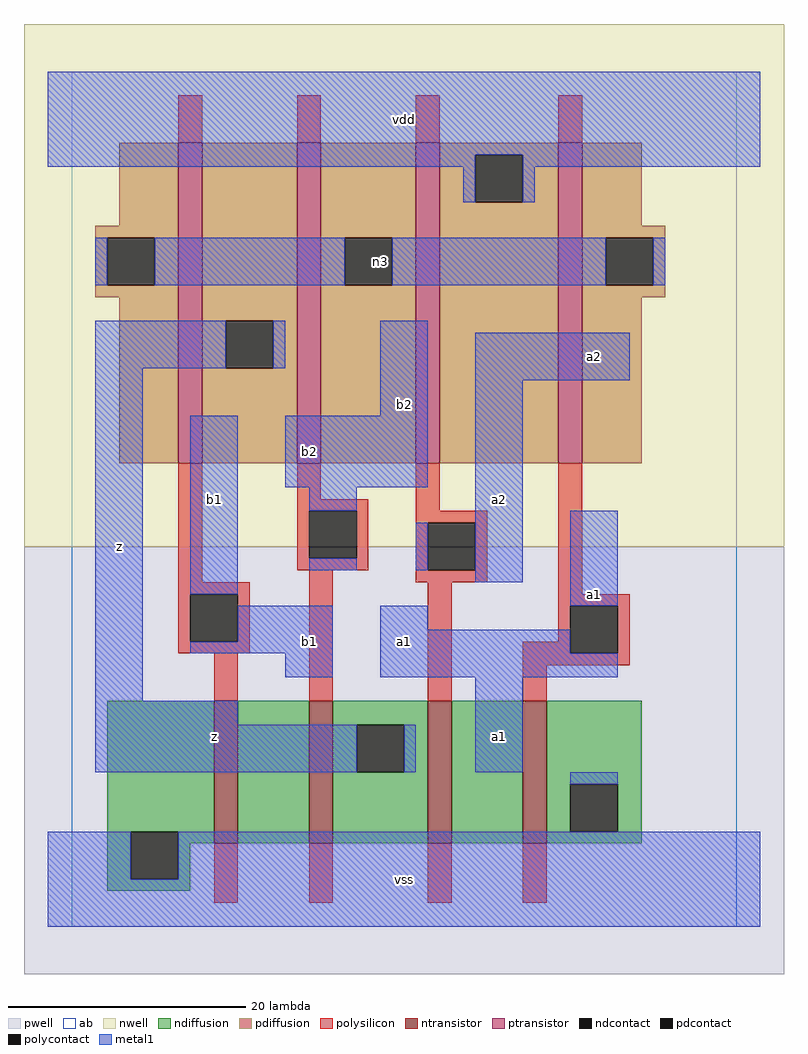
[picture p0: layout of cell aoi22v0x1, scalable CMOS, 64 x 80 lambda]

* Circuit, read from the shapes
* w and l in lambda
.subckt aoi22v0x1 a1 a2 b1 b2 n3 vdd vss z
M1 n1 b1 vss VSUBS nfet w=12 l=2
M2 z b2 n1 VSUBS nfet w=12 l=2
M3 n2 a2 z VSUBS nfet w=12 l=2
M4 vss a1 n2 VSUBS nfet w=12 l=2
M5 z b1 n3 n4 pfet w=27 l=2
M6 n3 b2 z n4 pfet w=27 l=2
M7 vdd a2 n3 n4 pfet w=27 l=2
M8 n3 a1 vdd n4 pfet w=27 l=2
.ends

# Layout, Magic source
magic
tech scmos
<< ab >>
rect 0 0 56 72
<< pwell >>
rect -4 -4 60 32
<< nwell >>
rect -4 32 60 76
<< polysilicon >>
rect 9 66 11 70
rect 19 66 21 70
rect 29 66 31 70
rect 41 66 43 70
rect 9 29 11 39
rect 19 36 21 39
rect 19 35 25 36
rect 19 31 20 35
rect 24 31 25 35
rect 19 30 25 31
rect 29 35 31 39
rect 29 34 35 35
rect 29 30 30 34
rect 34 30 35 34
rect 9 28 15 29
rect 9 24 10 28
rect 14 24 15 28
rect 9 23 15 24
rect 12 19 14 23
rect 20 19 22 30
rect 29 29 35 30
rect 30 19 32 29
rect 41 28 43 39
rect 41 27 47 28
rect 41 24 42 27
rect 38 23 42 24
rect 46 23 47 27
rect 38 22 47 23
rect 38 19 40 22
rect 12 2 14 7
rect 20 2 22 7
rect 30 2 32 7
rect 38 2 40 7
<< ndiffusion >>
rect 3 8 12 19
rect 3 4 5 8
rect 9 7 12 8
rect 14 7 20 19
rect 22 17 30 19
rect 22 13 24 17
rect 28 13 30 17
rect 22 7 30 13
rect 32 7 38 19
rect 40 12 48 19
rect 40 8 42 12
rect 46 8 48 12
rect 40 7 48 8
rect 9 4 10 7
rect 3 3 10 4
<< pdiffusion >>
rect 4 59 9 66
rect 2 58 9 59
rect 2 54 3 58
rect 7 54 9 58
rect 2 53 9 54
rect 4 39 9 53
rect 11 51 19 66
rect 11 47 13 51
rect 17 47 19 51
rect 11 39 19 47
rect 21 58 29 66
rect 21 54 23 58
rect 27 54 29 58
rect 21 39 29 54
rect 31 65 41 66
rect 31 61 34 65
rect 38 61 41 65
rect 31 39 41 61
rect 43 59 48 66
rect 43 58 50 59
rect 43 54 45 58
rect 49 54 50 58
rect 43 53 50 54
rect 43 39 48 53
<< metal1 >>
rect -2 65 58 72
rect -2 64 34 65
rect 33 61 34 64
rect 38 64 58 65
rect 38 61 39 64
rect 2 54 3 58
rect 7 54 23 58
rect 27 54 45 58
rect 49 54 50 58
rect 2 47 13 51
rect 17 47 18 51
rect 2 19 6 47
rect 26 43 30 51
rect 10 28 14 43
rect 18 37 30 43
rect 34 46 47 50
rect 20 35 24 37
rect 20 30 24 31
rect 29 30 30 34
rect 34 29 38 46
rect 42 27 46 35
rect 14 24 22 27
rect 10 23 22 24
rect 18 21 22 23
rect 26 25 30 27
rect 26 23 42 25
rect 26 21 46 23
rect 2 17 14 19
rect 2 13 24 17
rect 28 13 29 17
rect 34 13 38 21
rect 42 12 46 13
rect -2 4 5 8
rect 9 4 58 8
rect -2 0 58 4
<< ntransistor >>
rect 12 7 14 19
rect 20 7 22 19
rect 30 7 32 19
rect 38 7 40 19
<< ptransistor >>
rect 9 39 11 66
rect 19 39 21 66
rect 29 39 31 66
rect 41 39 43 66
<< polycontact >>
rect 20 31 24 35
rect 30 30 34 34
rect 10 24 14 28
rect 42 23 46 27
<< ndcontact >>
rect 5 4 9 8
rect 24 13 28 17
rect 42 8 46 12
<< pdcontact >>
rect 3 54 7 58
rect 13 47 17 51
rect 23 54 27 58
rect 34 61 38 65
rect 45 54 49 58
<< labels >>
rlabel metal1 4 32 4 32 6 z
rlabel metal1 12 16 12 16 6 z
rlabel metal1 20 24 20 24 6 b1
rlabel metal1 20 40 20 40 6 b2
rlabel metal1 12 36 12 36 6 b1
rlabel metal1 28 4 28 4 6 vss
rlabel metal1 36 16 36 16 6 a1
rlabel metal1 28 24 28 24 6 a1
rlabel metal1 36 36 36 36 6 a2
rlabel metal1 28 44 28 44 6 b2
rlabel metal1 28 68 28 68 6 vdd
rlabel metal1 44 28 44 28 6 a1
rlabel metal1 44 48 44 48 6 a2
rlabel pdcontact 26 56 26 56 6 n3
<< end >>
